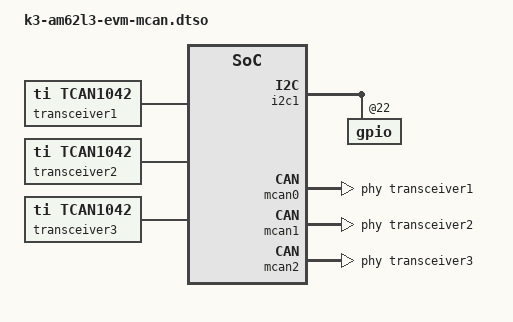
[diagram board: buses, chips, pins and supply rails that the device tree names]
// SPDX-License-Identifier: GPL-2.0-or-later OR MIT
/*
 * DT Overlay for enabling MCAN for AM62L-EVM.
 *
 * Copyright (C) 2025 Texas Instruments Incorporated - http://www.ti.com/
 */

/dts-v1/;
/plugin/;

#include <dt-bindings/gpio/gpio.h>
#include "k3-pinctrl.h"

&{/} {
	transceiver1: can-phy0 {
		compatible = "ti,tcan1042";
		#phy-cells = <0>;
		max-bitrate = <5000000>;
	};

	transceiver2: can-phy1 {
		compatible = "ti,tcan1042";
		#phy-cells = <0>;
		max-bitrate = <5000000>;
	};

	transceiver3: can-phy2 {
		compatible = "ti,tcan1042";
		#phy-cells = <0>;
		max-bitrate = <5000000>;
	};
};

&pmx0 {
	main_mcan0_pins_default: main-mcan0-default-pins {
		pinctrl-single,pins = <
			AM62LX_IOPAD(0x01c8, PIN_INPUT, 0) /* (B15) MCAN0_RX */
			AM62LX_IOPAD(0x01c4, PIN_OUTPUT, 0) /* (B16) MCAN0_TX */
		>;
	};

	main_mcan1_pins_default: main-mcan1-default-pins {
		pinctrl-single,pins = <
			AM62LX_IOPAD(0x0180, PIN_INPUT, 5) /* (A8) MCASP0_AXR3.MCAN1_RX */
			AM62LX_IOPAD(0x0184, PIN_OUTPUT, 5) /* (B10) MCASP0_AXR2.MCAN1_TX */
		>;
	};

	main_mcan2_pins_default: main-mcan2-default-pins {
		pinctrl-single,pins = <
			AM62LX_IOPAD(0x01bc, PIN_INPUT, 6) /* (B14) UART0_CTSn.MCAN2_RX */
			AM62LX_IOPAD(0x01c0, PIN_OUTPUT, 6) /* (B13) UART0_RTSn.MCAN2_TX */
		>;
	};
};

&uart1 {
	/* Conflict: MCASP0_AXR3, MCASP0_AXR2 */
	status = "disabled";
};

&i2c1 {
	gpio@22 {
		p02-hog {
			/* P02 - UART1_FET_SEL */
			gpio-hog;
			gpios = <2 GPIO_ACTIVE_HIGH>;
			output-low;
			line-name = "UART1_FET_SEL";
		};
	};
};

&mcan0 {
	/* J16: RX=P3/TX=P2 */
	pinctrl-names = "default";
	pinctrl-0 = <&main_mcan0_pins_default>;
	phys = <&transceiver1>;
	status = "okay";
};

&mcan1 {
	/* J6: RX=P3/TX=P2 */
	pinctrl-names = "default";
	pinctrl-0 = <&main_mcan1_pins_default>;
	phys = <&transceiver2>;
	status = "okay";
};

&mcan2 {
	/* J18: RX=P3/TX=P2 */
	pinctrl-names = "default";
	pinctrl-0 = <&main_mcan2_pins_default>;
	phys = <&transceiver3>;
	status = "okay";
};
